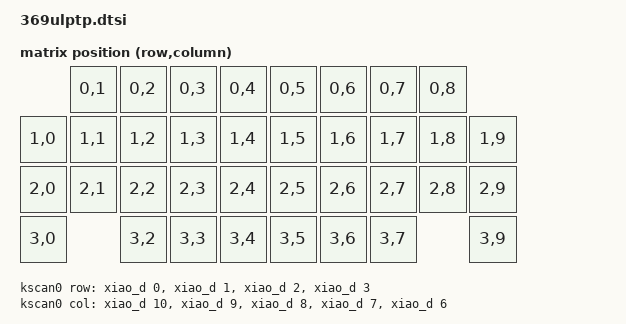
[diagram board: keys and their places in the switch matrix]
/*
 * Copyright (c) 2020 The ZMK Contributors
 *
 * SPDX-License-Identifier: MIT
 */

#include <dt-bindings/zmk/matrix_transform.h>
/*
CS(SS) pin is D16 P0.31
Encoder A and B for Right1 are D14 and D15, P0.09 and P0.10
Encoder A and B for Right2 are D11 and D12, P0.15 and P0.19
DR is D13, P1.01
SDA D4
SCL D5
MISO D18 P1.05
MOSI D19 P1.07
SCK  D17 P1.03 
*/

/{
	chosen {
		zmk,kscan = &kscan0;
		zmk,matrix_transform = &default_transform;
	};

	default_transform: keymap_transform_0 {
		compatible = "zmk,matrix-transform";
		columns = <10>;
		rows = <4>;
// | SW1  | SW2  | SW3  | SW4  | SW5  |   | SW5  | SW4  | SW3  | SW2  | SW1  |
// | SW6  | SW7  | SW8  | SW9  | SW10 |   | SW10 | SW9  | SW8  | SW7  | SW6  |
// | SW11 | SW12 | SW13 | SW14 | SW15 |   | SW15 | SW14 | SW13 | SW12 | SW11 |
// | SW16 |      |      | SW17 | SW18 |   | SW19 | SW19 | SW18 |      | SW16 |
		map = <
        RC(0,1) RC(0,2) RC(0,3) RC(0,4)       RC(0,5) RC(0,6) RC(0,7) RC(0,8)
RC(1,0) RC(1,1) RC(1,2) RC(1,3) RC(1,4)       RC(1,5) RC(1,6) RC(1,7) RC(1,8) RC(1,9)
RC(2,0) RC(2,1) RC(2,2) RC(2,3) RC(2,4)       RC(2,5) RC(2,6) RC(2,7) RC(2,8) RC(2,9)
RC(3,0)         RC(3,2) RC(3,3) RC(3,4)       RC(3,5) RC(3,6) RC(3,7)         RC(3,9)        
		>;
	};  
    kscan0: kscan {
        compatible = "zmk,kscan-gpio-matrix";
        // label = "KSCAN";
        diode-direction = "col2row";
        // compatible = "zmk,kscan-gpio-matrix";
        // diode-direction = "col2row";
    col-gpios
    	= <&xiao_d 10 GPIO_ACTIVE_HIGH>//Col0
        , <&xiao_d 9 GPIO_ACTIVE_HIGH>//Col1
        , <&xiao_d 8 GPIO_ACTIVE_HIGH>//Col2
        , <&xiao_d 7 GPIO_ACTIVE_HIGH>//Col3
        , <&xiao_d 6 GPIO_ACTIVE_HIGH>//Col4
        ;
	row-gpios
        = <&xiao_d 0 (GPIO_ACTIVE_HIGH | GPIO_PULL_DOWN)>   //Row2
        , <&xiao_d 1 (GPIO_ACTIVE_HIGH | GPIO_PULL_DOWN)>   //Row3
        , <&xiao_d 2 (GPIO_ACTIVE_HIGH | GPIO_PULL_DOWN)>  //Row0
        , <&xiao_d 3 (GPIO_ACTIVE_HIGH | GPIO_PULL_DOWN)>   //Row1
        ;
    };
};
